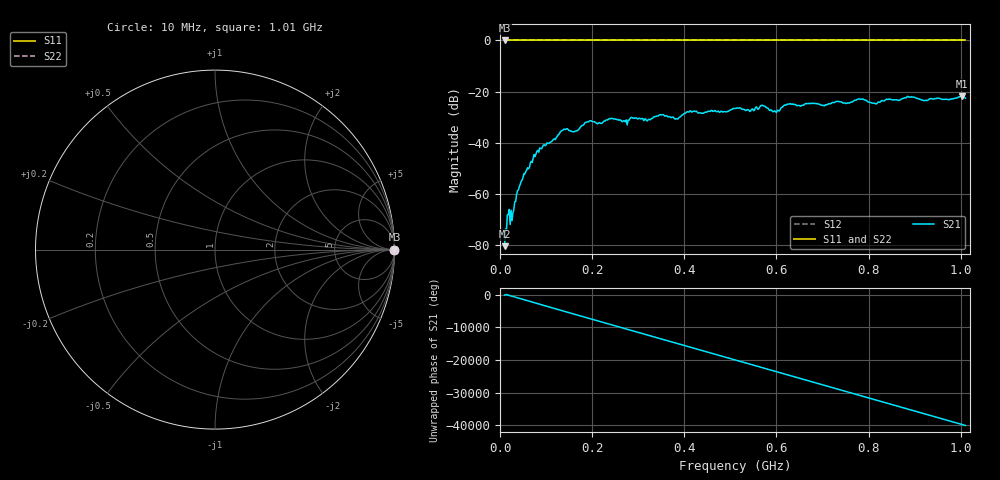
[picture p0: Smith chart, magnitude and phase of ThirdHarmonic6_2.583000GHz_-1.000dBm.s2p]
! 8/17/2025 5:29:05 AM
! C:\ANRITSUVNA\TEMP\TEMP.S2P
! CHANNEL.1
! TR.MEASUREMENT
! RAW.DATA
! RF.CORRECTION.OFF
! AVERAGING.OFF
! IF.BANDWIDTH: 5KHZ
! SWEEPTYPE:  FREQ.SWEEP(Linear)
! Reference Plane Port Info
! PORT:  PORT1  PORT2
! DISTANCE:  0  m  0  m
! TIME:  0  s  0  s
! PHASE.OFFSET:  0  deg.  0  deg.
! LOSS:  0  dB  0  dB
! REF.LOSS:  0  dB  0  dB
! REF.FREQ:  0  Hz  0  Hz
! Power Info
! POWER:  -20  dBm  -20  dBm
! EFF.POWER:  -20  dBm  -20  dBm
! SOURCE.ATTEN:  0  dB  0  dB
! TEST.ATTEN:  0  dB  0  dB
# GHZ S RI R 50.0
! FREQ.GHZ  S11RE  S11IM  S21RE  S21IM  S12RE  S12IM  S22RE  S22IM
!; PortSelection: Port_12
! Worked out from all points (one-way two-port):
!   501 points, 10 MHz to 1.01 GHz, reference 50 ohm
!   highest |S21| = -21.87 dB at 1.002 GHz (marker M1); lowest = -80.6 dB at 10 MHz (marker M2)
!   lowest |S11| = 0.0 dB at 10 MHz (marker M3)
!   |S11| at or under -10 dB: nowhere
!   |S22| runs from 0.0 to 0.0 dB; largest |S21 - S12| = 1.1
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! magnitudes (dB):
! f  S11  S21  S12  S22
! 10 MHz  0.0  -80.6  0.0  0.0
! 16 MHz  0.0  -68.3  0.0  0.0
! 26 MHz  0.0  -70.6  0.0  0.0
! 42 MHz  0.0  -57.2  0.0  0.0
! 78 MHz  0.0  -44.5  0.0  0.0
! 136 MHz  0.0  -35.2  0.0  0.0
! 162 MHz  0.0  -35.7  0.0  0.0
! 178 MHz  0.0  -33.3  0.0  0.0
! 194 MHz  0.0  -31.6  0.0  0.0
! 322 MHz  0.0  -30.9  0.0  0.0
! 344 MHz  0.0  -29.5  0.0  0.0
! 384 MHz  0.0  -30.6  0.0  0.0
! 410 MHz  0.0  -28.0  0.0  0.0
! 510 MHz  0.0  -26.6  0.0  0.0
! 546 MHz  0.0  -27.0  0.0  0.0
! 570 MHz  0.0  -25.4  0.0  0.0
! 596 MHz  0.0  -27.6  0.0  0.0
! 626 MHz  0.0  -24.9  0.0  0.0
! 678 MHz  0.0  -24.7  0.0  0.0
! 844 MHz  0.0  -23.0  0.0  0.0
! 1.002 GHz  0.0  -21.9  0.0  0.0
! 1.01 GHz  0.0  -22.6  0.0  0.0
